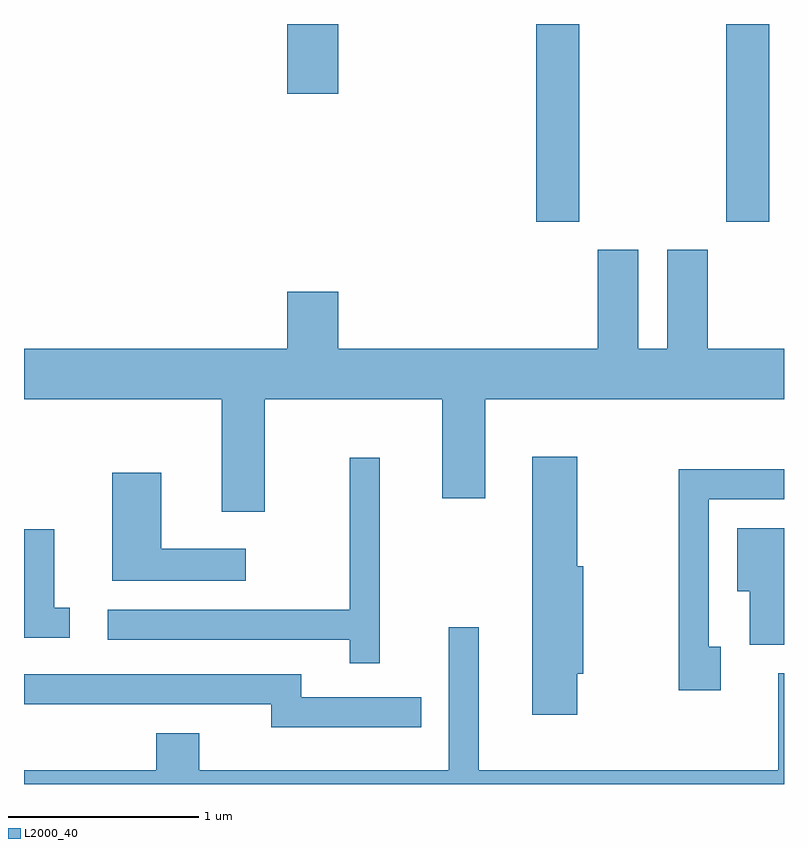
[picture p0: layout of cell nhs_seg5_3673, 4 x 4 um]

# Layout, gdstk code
import gdstk
lib = gdstk.Library(unit=1e-6, precision=1e-09)
def R(c, l, rs):  # rectangles x0, y0, x1, y1
    for r in rs: c.add(gdstk.rectangle(r[:2], r[2:], *l))
def P(c, l, *ps):  # polygons
    for p in ps: c.add(gdstk.Polygon(p, *l))
L2000_40 = (2000, 40)

nhs_seg5_3673 = lib.new_cell('nhs_seg5_3673')
R(nhs_seg5_3673, L2000_40, [(296.306,1491.031,296.534,1492.072), (297.306,1491.031,297.534,1492.072), (294.996,1491.706,295.264,1492.072)])
P(nhs_seg5_3673, L2000_40, [(294.879,1490.096),(295.811,1490.096),(295.811,1489.576),(296.039,1489.576),(296.039,1490.096),(297.611,1490.096),(297.611,1490.364),(297.209,1490.364),(297.209,1490.884),(296.996,1490.884),(296.996,1490.364),(296.844,1490.364),(296.844,1490.884),(296.631,1490.884),(296.631,1490.364),(295.264,1490.364),(295.264,1490.664),(294.996,1490.664),(294.996,1490.364),(293.611,1490.364),(293.611,1490.096),(294.651,1490.096),(294.651,1489.506),(294.879,1489.506)],
  [(296.524,1488.651),(296.554,1488.651),(296.554,1489.219),(296.524,1489.219),(296.524,1489.794),(296.286,1489.794),(296.286,1488.436),(296.524,1488.436)],
  [(295.484,1489.788),(295.326,1489.788),(295.326,1488.989),(294.053,1488.989),(294.053,1488.831),(295.326,1488.831),(295.326,1488.708),(295.484,1488.708)],
  [(297.279,1488.794),(297.214,1488.794),(297.214,1489.571),(297.611,1489.571),(297.611,1489.729),(297.056,1489.729),(297.056,1488.566),(297.279,1488.566)],
  [(294.778,1489.309),(294.334,1489.309),(294.334,1489.709),(294.076,1489.709),(294.076,1489.141),(294.778,1489.141)],
  [(297.611,1489.419),(297.366,1489.419),(297.366,1489.086),(297.431,1489.086),(297.431,1488.806),(297.611,1488.806)],
  [(293.853,1488.999),(293.769,1488.999),(293.769,1489.414),(293.611,1489.414),(293.611,1488.841),(293.853,1488.841)],
  [(294.306,1488.339),(294.306,1488.144),(293.611,1488.144),(293.611,1488.072),(297.611,1488.072),(297.611,1488.654),(297.581,1488.654),(297.581,1488.144),(296.004,1488.144),(296.004,1488.898),(295.846,1488.898),(295.846,1488.144),(294.534,1488.144),(294.534,1488.339)],
  [(295.703,1488.529),(295.069,1488.529),(295.069,1488.649),(293.611,1488.649),(293.611,1488.491),(294.911,1488.491),(294.911,1488.371),(295.703,1488.371)])

lib.write_gds('nhs_seg5_3673.gds')
